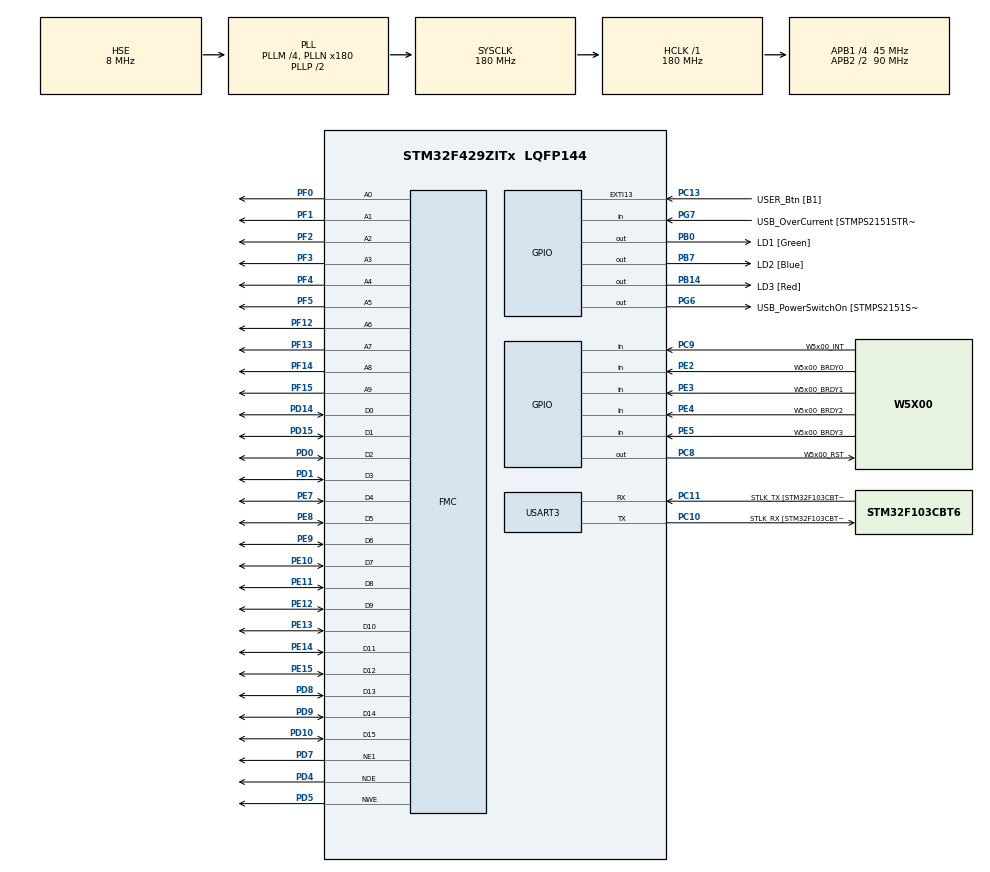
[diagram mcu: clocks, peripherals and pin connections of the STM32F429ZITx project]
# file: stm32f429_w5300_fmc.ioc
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Dma.MEMTOMEM.0.Direction=DMA_MEMORY_TO_MEMORY
Dma.MEMTOMEM.0.FIFOMode=DMA_FIFOMODE_ENABLE
Dma.MEMTOMEM.0.FIFOThreshold=DMA_FIFO_THRESHOLD_FULL
Dma.MEMTOMEM.0.Instance=DMA2_Stream4
Dma.MEMTOMEM.0.MemBurst=DMA_MBURST_SINGLE
Dma.MEMTOMEM.0.MemDataAlignment=DMA_MDATAALIGN_HALFWORD
Dma.MEMTOMEM.0.MemInc=DMA_MINC_ENABLE
Dma.MEMTOMEM.0.Mode=DMA_NORMAL
Dma.MEMTOMEM.0.PeriphBurst=DMA_PBURST_SINGLE
Dma.MEMTOMEM.0.PeriphDataAlignment=DMA_PDATAALIGN_HALFWORD
Dma.MEMTOMEM.0.PeriphInc=DMA_PINC_DISABLE
Dma.MEMTOMEM.0.Priority=DMA_PRIORITY_HIGH
Dma.MEMTOMEM.1.Direction=DMA_MEMORY_TO_MEMORY
Dma.MEMTOMEM.1.FIFOMode=DMA_FIFOMODE_ENABLE
Dma.MEMTOMEM.1.FIFOThreshold=DMA_FIFO_THRESHOLD_FULL
Dma.MEMTOMEM.1.Instance=DMA2_Stream5
Dma.MEMTOMEM.1.MemBurst=DMA_MBURST_SINGLE
Dma.MEMTOMEM.1.MemDataAlignment=DMA_MDATAALIGN_HALFWORD
Dma.MEMTOMEM.1.MemInc=DMA_MINC_DISABLE
Dma.MEMTOMEM.1.Mode=DMA_NORMAL
Dma.MEMTOMEM.1.PeriphBurst=DMA_PBURST_SINGLE
Dma.MEMTOMEM.1.PeriphDataAlignment=DMA_PDATAALIGN_HALFWORD
Dma.MEMTOMEM.1.PeriphInc=DMA_PINC_ENABLE
Dma.MEMTOMEM.1.Priority=DMA_PRIORITY_HIGH
Dma.Request0=MEMTOMEM
Dma.Request1=MEMTOMEM
FMC.AddressSetupTime1=15
FMC.BusTurnAroundDuration1=0x01
FMC.DataSetupTime1=15
FMC.WriteOperation1=FMC_WRITE_OPERATION_ENABLE
Mcu.Family=STM32F4
Mcu.Name=STM32F429ZITx
Mcu.Package=LQFP144
NVIC.DMA2_Stream4_IRQn=true\:0\:0\:false\:false\:true\:true\:true\:true
NVIC.DMA2_Stream5_IRQn=true\:0\:0\:false\:false\:true\:true\:true\:true
NVIC.PriorityGroup=NVIC_PRIORITYGROUP_4
PA13.GPIO_Label=TMS
PA13.Mode=Serial_Wire
PA13.Signal=SYS_JTMS-SWDIO
PA14.GPIO_Label=TCK
PA14.Mode=Serial_Wire
PA14.Signal=SYS_JTCK-SWCLK
PB0.GPIO_Label=LD1 [Green]
PB0.Signal=GPIO_Output
PB14.GPIO_Label=LD3 [Red]
PB14.Signal=GPIO_Output
PB7.GPIO_Label=LD2 [Blue]
PB7.Signal=GPIO_Output
PC10.GPIO_Label=STLK_RX [STM32F103CBT6_PA3]
PC10.Mode=Asynchronous
PC10.Signal=USART3_TX
PC11.GPIO_Label=STLK_TX [STM32F103CBT6_PA2]
PC11.Mode=Asynchronous
PC11.Signal=USART3_RX
PC13.GPIO_Label=USER_Btn [B1]
PC13.Signal=GPXTI13
PC14/OSC32_IN.Mode=LSE-External-Oscillator
PC14/OSC32_IN.Signal=RCC_OSC32_IN
PC15/OSC32_OUT.Mode=LSE-External-Oscillator
PC15/OSC32_OUT.Signal=RCC_OSC32_OUT
PC8.GPIO_Label=W5x00_RST
PC8.PinState=GPIO_PIN_SET
PC8.Signal=GPIO_Output
PC9.GPIO_Label=W5x00_INT
PC9.Signal=GPIO_Input
PD0.Signal=FMC_D2_DA2
PD1.Signal=FMC_D3_DA3
PD10.Signal=FMC_D15_DA15
PD14.Signal=FMC_D0_DA0
PD15.Signal=FMC_D1_DA1
PD4.Signal=FMC_NOE
PD5.Signal=FMC_NWE
PD7.Mode=NorPsramChipSelect1_1
PD7.Signal=FMC_NE1
PD8.Signal=FMC_D13_DA13
PD9.Signal=FMC_D14_DA14
PE10.Signal=FMC_D7_DA7
PE11.Signal=FMC_D8_DA8
PE12.Signal=FMC_D9_DA9
PE13.Signal=FMC_D10_DA10
PE14.Signal=FMC_D11_DA11
PE15.Signal=FMC_D12_DA12
PE2.GPIO_Label=W5x00_BRDY0
PE2.Signal=GPIO_Input
PE3.GPIO_Label=W5x00_BRDY1
PE3.Signal=GPIO_Input
PE4.GPIO_Label=W5x00_BRDY2
PE4.Signal=GPIO_Input
PE5.GPIO_Label=W5x00_BRDY3
PE5.Signal=GPIO_Input
PE7.Signal=FMC_D4_DA4
PE8.Signal=FMC_D5_DA5
PE9.Signal=FMC_D6_DA6
PF0.Signal=FMC_A0
PF1.Signal=FMC_A1
PF12.Signal=FMC_A6
PF13.Signal=FMC_A7
PF14.Signal=FMC_A8
PF15.Signal=FMC_A9
PF2.Signal=FMC_A2
PF3.Signal=FMC_A3
PF4.Signal=FMC_A4
PF5.Signal=FMC_A5
PG6.GPIO_Label=USB_PowerSwitchOn [STMPS2151STR_EN]
PG6.Signal=GPIO_Output
PG7.GPIO_Label=USB_OverCurrent [STMPS2151STR_FAULT]
PG7.Signal=GPIO_Input
PH0/OSC_IN.GPIO_Label=MCO [STM32F103CBT6_PA8]
PH0/OSC_IN.Mode=HSE-External-Clock-Source
PH0/OSC_IN.Signal=RCC_OSC_IN
PH1/OSC_OUT.Mode=HSE-External-Clock-Source
PH1/OSC_OUT.Signal=RCC_OSC_OUT
ProjectManager.HeapSize=0x200
ProjectManager.StackSize=0x400
ProjectManager.TargetToolchain=STM32CubeIDE
RCC.48MHZClocksFreq_Value=51428571.428571425
RCC.AHBFreq_Value=180000000
RCC.APB1CLKDivider=RCC_HCLK_DIV4
RCC.APB1Freq_Value=45000000
RCC.APB1TimFreq_Value=90000000
RCC.APB2CLKDivider=RCC_HCLK_DIV2
RCC.APB2Freq_Value=90000000
RCC.APB2TimFreq_Value=180000000
RCC.CortexFreq_Value=180000000
RCC.HCLKFreq_Value=180000000
RCC.HSE_VALUE=8000000
RCC.HSI_VALUE=16000000
RCC.PLLM=4
RCC.PLLMUL=RCC_PLL_MUL9
RCC.PLLN=180
RCC.PLLQ=7
RCC.PLLSourceVirtual=RCC_PLLSOURCE_HSE
RCC.PRESCALERUSB=RCC_USBCLKSOURCE_PLL_DIV1_5
RCC.SYSCLKFreq_VALUE=180000000
RCC.SYSCLKSource=RCC_SYSCLKSOURCE_PLLCLK
RCC.SYSCLKSourceVirtual=RCC_SYSCLKSOURCE_PLLCLK
RCC.USBFreq_Value=48000000
RCC.VCOOutputFreq_Value=360000000
SH.FMC_A0.0=FMC_A0,10b-a1
SH.FMC_A1.0=FMC_A1,10b-a1
SH.FMC_A2.0=FMC_A2,10b-a1
SH.FMC_A3.0=FMC_A3,10b-a1
SH.FMC_A4.0=FMC_A4,10b-a1
SH.FMC_A5.0=FMC_A5,10b-a1
SH.FMC_A6.0=FMC_A6,10b-a1
SH.FMC_A7.0=FMC_A7,10b-a1
SH.FMC_A8.0=FMC_A8,10b-a1
SH.FMC_A9.0=FMC_A9,10b-a1
SH.FMC_D0_DA0.0=FMC_D0,16b-d1
SH.FMC_D10_DA10.0=FMC_D10,16b-d1
SH.FMC_D11_DA11.0=FMC_D11,16b-d1
SH.FMC_D12_DA12.0=FMC_D12,16b-d1
SH.FMC_D13_DA13.0=FMC_D13,16b-d1
SH.FMC_D14_DA14.0=FMC_D14,16b-d1
SH.FMC_D15_DA15.0=FMC_D15,16b-d1
SH.FMC_D1_DA1.0=FMC_D1,16b-d1
SH.FMC_D2_DA2.0=FMC_D2,16b-d1
SH.FMC_D3_DA3.0=FMC_D3,16b-d1
SH.FMC_D4_DA4.0=FMC_D4,16b-d1
SH.FMC_D5_DA5.0=FMC_D5,16b-d1
SH.FMC_D6_DA6.0=FMC_D6,16b-d1
SH.FMC_D7_DA7.0=FMC_D7,16b-d1
SH.FMC_D8_DA8.0=FMC_D8,16b-d1
SH.FMC_D9_DA9.0=FMC_D9,16b-d1
SH.FMC_NOE.0=FMC_NOE,Sram1
SH.FMC_NWE.0=FMC_NWE,Sram1
USART3.VirtualMode=VM_ASYNC
board=NUCLEO-F429ZI

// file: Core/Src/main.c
/* USER CODE BEGIN Header */
/**
  ******************************************************************************
  * @file           : main.c
  * @brief          : Main program body
  ******************************************************************************
  * @attention
  *
  * Copyright (c) 2023 STMicroelectronics.
  * All rights reserved.
  *
  * This software is licensed under terms that can be found in the LICENSE file
  * in the root directory of this software component.
  * If no LICENSE file comes with this software, it is provided AS-IS.
  *
  ******************************************************************************
  */
/* USER CODE END Header */
#include "main.h"

/* USER CODE BEGIN Includes */
#include <stdio.h>

#include "wizchip_conf.h"

#define LOOPBACK
#ifdef LOOPBACK
#include "loopback.h"
#endif /* LOOPBACK */
/* USER CODE END Includes */

/* USER CODE BEGIN PM */
#ifdef __GNUC__
/* With GCC/RAISONANCE, small printf (option LD Linker->Libraries->Small printf set to 'Yes') calls __io_putchar() */
#define PUTCHAR_PROTOTYPE int __io_putchar(int ch)
#else
#define PUTCHAR_PROTOTYPE int fputc(int ch, FILE *f)
#endif /* __GNUC__ */

#define W5300_BANK_ADDR ((uint32_t)0x60000000)
#define _W5300_DATA(p) *(__IO uint16_t *)(W5300_BANK_ADDR + (p << 1))

#define ETHERNET_BUF_MAX_SIZE (1024 * 2)

#ifdef LOOPBACK
#define SOCKET_LOOPBACK 0
#define PORT_LOOPBACK 5000
#endif /* LOOPBACK */
/* USER CODE END PM */

UART_HandleTypeDef huart3;

DMA_HandleTypeDef hdma_memtomem_dma2_stream4;
DMA_HandleTypeDef hdma_memtomem_dma2_stream5;
SRAM_HandleTypeDef hsram1;

/* USER CODE BEGIN PV */
static wiz_NetInfo g_net_info =
    {
        .mac = {0x00, 0x08, 0xDC, 0x12, 0x34, 0x56}, // MAC address
        .ip = {192, 168, 11, 103},                     // IP address
        .sn = {255, 255, 255, 0},                    // Subnet Mask
        .gw = {192, 168, 11, 1},                     // Gateway
        .dns = {8, 8, 8, 8},                         // DNS server
        .dhcp = NETINFO_STATIC                       // DHCP enable/disable
};

#ifdef LOOPBACK
static uint8_t g_loopback_buf[ETHERNET_BUF_MAX_SIZE] = {
    0,
};
#endif /* LOOPBACK */
/* USER CODE END PV */

void SystemClock_Config(void);
static void MX_GPIO_Init(void);
static void MX_DMA_Init(void);
static void MX_FMC_Init(void);
static void MX_USART3_UART_Init(void);
/* USER CODE BEGIN PFP */
/**
 * @brief  Retargets the C library printf function to the USART.
 * @param  None
 * @retval None
 */
PUTCHAR_PROTOTYPE
{
  /* Place your implementation of fputc here */
  /* e.g. write a character to the USART3 and Loop until the end of transmission */
  HAL_UART_Transmit(&huart3, (uint8_t *)&ch, 1, 0xFF);

  return ch;
}

static void wizchip_select(void)
{
  HAL_GPIO_WritePin(FMC_NE1_GPIO_PORT, FMC_NE1_GPIO_PIN, GPIO_PIN_RESET);
}

static void wizchip_deselect(void)
{
  HAL_GPIO_WritePin(FMC_NE1_GPIO_PORT, FMC_NE1_GPIO_PIN, GPIO_PIN_SET);
}

static void wizchip_reset()
{
  HAL_GPIO_WritePin(W5x00_RST_GPIO_Port, W5x00_RST_Pin, GPIO_PIN_RESET);
  HAL_Delay(100);

  HAL_GPIO_WritePin(W5x00_RST_GPIO_Port, W5x00_RST_Pin, GPIO_PIN_SET);
  HAL_Delay(100);
}
#ifdef DMA

void wizchip_dma_read(uint32_t addr, iodata_t data)
{
	//HAL_SRAM_Write_DMA
	while (HAL_DMA_GetState(&W5300_DMA_TX) != HAL_DMA_STATE_READY);
	HAL_DMA_Start_IT(&W5300_DMA_TX, (uint32_t)&data, (uint32_t)addr, 1);
	while (HAL_DMA_GetState(&W5300_DMA_TX) == HAL_DMA_STATE_RESET);
}

iodata_t wizchip_dma_write(uint32_t addr)
{
	iodata_t ret;

	while (HAL_DMA_GetState(&W5300_DMA_RX) != HAL_DMA_STATE_READY);
	HAL_DMA_Start_IT(&W5300_DMA_RX, (uint32_t)addr, &ret, 1);
	while (HAL_DMA_GetState(&W5300_DMA_RX) == HAL_DMA_STATE_RESET);

	return ret;
}

#else
static iodata_t wizchip_read(uint32_t addr)
{
  return _W5300_DATA(addr);
}

static void wizchip_write(uint32_t addr, iodata_t tx_data)
{
  _W5300_DATA(addr) = tx_data;
}
#endif
void wizchip_initialize(void)
{
  /* Deselect the FLASH : chip select high */
  wizchip_deselect();

  /* CS function register */
  //reg_wizchip_cs_cbfunc(wizchip_select, wizchip_deselect);

  /* BUS function register */
#ifdef DMA
  reg_wizchip_bus_cbfunc(wizchip_dma_read, wizchip_dma_write);
#else
  reg_wizchip_bus_cbfunc(wizchip_read, wizchip_write);
#endif

  /* W5x00 initialize */
#if (_WIZCHIP_ == W5100S)
  uint8_t memsize[2][4] = {{2, 2, 2, 2}, {2, 2, 2, 2}};
#elif (_WIZCHIP_ == W5300)
//  uint8_t memsize[2][8] = {{64, 0, 0, 0, 0, 0, 0, 0}, {64, 0, 0, 0, 0, 0, 0, 0}};
  uint8_t memsize[2][8] = {{8, 8, 8, 0, 8, 8, 8, 8}, {8, 8, 8, 8, 8, 8, 8, 8}};
#elif (_WIZCHIP_ == W5500)
  uint8_t memsize[2][8] = {{2, 2, 2, 2, 2, 2, 2, 2}, {2, 2, 2, 2, 2, 2, 2, 2}};
#endif

  if (ctlwizchip(CW_INIT_WIZCHIP, (void *)memsize) == -1)
  {
    printf(" W5x00 initialized fail\n");

    return;
  }
  for(int i = 0 ; i < _WIZCHIP_SOCK_NUM_; i++)
  {
	  printf("Tx socker%d buf size is: %d, ",i, getSn_TXBUF_SIZE(i));
	  printf("Rx socker%d buf size is: %d \r\n",i, getSn_RXBUF_SIZE(i));
  }
#if (_WIZCHIP_ != W5300)
  uint8_t temp;

  /* Check PHY link status */
  do
  {
    if (ctlwizchip(CW_GET_PHYLINK, (void *)&temp) == -1)
    {
      printf(" Unknown PHY link status\n");

      return;
    }
  } while (temp == PHY_LINK_OFF);
#endif
}

void wizchip_check(void)
{
#if (_WIZCHIP_ == W5100S)
  /* Read version register */
  if (getVER() != 0x51)
  {
    printf(" ACCESS ERR : VERSION != 0x51, read value = 0x%02x\n", getVER());

    while (1)
      ;
  }
#elif (_WIZCHIP_ == W5300)
  // for further use
#elif (_WIZCHIP_ == W5500)
  /* Read version register */
  if (getVERSIONR() != 0x04)
  {
    printf(" ACCESS ERR : VERSION != 0x04, read value = 0x%02x\n", getVERSIONR());

    while (1)
      ;
  }
#endif
}

void network_initialize(wiz_NetInfo net_info)
{
  ctlnetwork(CN_SET_NETINFO, (void *)&net_info);
}

void print_network_information(wiz_NetInfo net_info)
{
  uint8_t tmp_str[8] = {
      0,
  };

  ctlnetwork(CN_GET_NETINFO, (void *)&net_info);
  ctlwizchip(CW_GET_ID, (void *)tmp_str);

  if (net_info.dhcp == NETINFO_DHCP)
  {
    printf("====================================================================================================\n");
    printf(" %s network configuration : DHCP\n\n", (char *)tmp_str);
  }
  else
  {
    printf("====================================================================================================\n");
    printf(" %s network configuration : static\n\n", (char *)tmp_str);
  }

  printf(" MAC         : %02X:%02X:%02X:%02X:%02X:%02X\n", net_info.mac[0], net_info.mac[1], net_info.mac[2], net_info.mac[3], net_info.mac[4], net_info.mac[5]);
  printf(" IP          : %d.%d.%d.%d\n", net_info.ip[0], net_info.ip[1], net_info.ip[2], net_info.ip[3]);
  printf(" Subnet Mask : %d.%d.%d.%d\n", net_info.sn[0], net_info.sn[1], net_info.sn[2], net_info.sn[3]);
  printf(" Gateway     : %d.%d.%d.%d\n", net_info.gw[0], net_info.gw[1], net_info.gw[2], net_info.gw[3]);
  printf(" DNS         : %d.%d.%d.%d\n", net_info.dns[0], net_info.dns[1], net_info.dns[2], net_info.dns[3]);
  printf("====================================================================================================\n\n");
}
/* USER CODE END PFP */

int main(void)
{

  /* MCU Configuration--------------------------------------------------------*/

  /* Reset of all peripherals, Initializes the Flash interface and the Systick. */
  HAL_Init();

  /* Configure the system clock */
  SystemClock_Config();

  /* Initialize all configured peripherals */
  MX_GPIO_Init();
  MX_DMA_Init();
  MX_FMC_Init();
  MX_USART3_UART_Init();
  /* USER CODE BEGIN 2 */
  HAL_Delay(1000 * 3); // wait for 3 seconds

  wizchip_reset();
  wizchip_initialize();
  wizchip_check();

  network_initialize(g_net_info);

  print_network_information(g_net_info);
  /* USER CODE END 2 */

  /* Infinite loop */
  while (1)
  {

    /* USER CODE BEGIN 3 */
#ifdef LOOPBACK
    int retval = 0;

    /* TCP server loopback test */
    if ((retval = loopback_tcps(SOCKET_LOOPBACK, g_loopback_buf, PORT_LOOPBACK)) < 0)
    {
      printf(" Loopback error : %d\n", retval);

      while (1)
        ;
    }
#endif /* LOOPBACK */
  }
  /* USER CODE END 3 */
}

void SystemClock_Config(void)
{
  RCC_OscInitTypeDef RCC_OscInitStruct = {0};
  RCC_ClkInitTypeDef RCC_ClkInitStruct = {0};

  /** Configure the main internal regulator output voltage
  */
  __HAL_RCC_PWR_CLK_ENABLE();
  __HAL_PWR_VOLTAGESCALING_CONFIG(PWR_REGULATOR_VOLTAGE_SCALE1);

  /** Initializes the RCC Oscillators according to the specified parameters
  * in the RCC_OscInitTypeDef structure.
  */
  RCC_OscInitStruct.OscillatorType = RCC_OSCILLATORTYPE_HSE;
  RCC_OscInitStruct.HSEState = RCC_HSE_BYPASS;
  RCC_OscInitStruct.PLL.PLLState = RCC_PLL_ON;
  RCC_OscInitStruct.PLL.PLLSource = RCC_PLLSOURCE_HSE;
  RCC_OscInitStruct.PLL.PLLM = 4;
  RCC_OscInitStruct.PLL.PLLN = 180;
  RCC_OscInitStruct.PLL.PLLP = RCC_PLLP_DIV2;
  RCC_OscInitStruct.PLL.PLLQ = 7;
  if (HAL_RCC_OscConfig(&RCC_OscInitStruct) != HAL_OK)
  {
    Error_Handler();
  }

  /** Activate the Over-Drive mode
  */
  if (HAL_PWREx_EnableOverDrive() != HAL_OK)
  {
    Error_Handler();
  }

  /** Initializes the CPU, AHB and APB buses clocks
  */
  RCC_ClkInitStruct.ClockType = RCC_CLOCKTYPE_HCLK|RCC_CLOCKTYPE_SYSCLK
                              |RCC_CLOCKTYPE_PCLK1|RCC_CLOCKTYPE_PCLK2;
  RCC_ClkInitStruct.SYSCLKSource = RCC_SYSCLKSOURCE_PLLCLK;
  RCC_ClkInitStruct.AHBCLKDivider = RCC_SYSCLK_DIV1;
  RCC_ClkInitStruct.APB1CLKDivider = RCC_HCLK_DIV4;
  RCC_ClkInitStruct.APB2CLKDivider = RCC_HCLK_DIV2;

  if (HAL_RCC_ClockConfig(&RCC_ClkInitStruct, FLASH_LATENCY_5) != HAL_OK)
  {
    Error_Handler();
  }
}

static void MX_USART3_UART_Init(void)
{

  huart3.Instance = USART3;
  huart3.Init.BaudRate = 115200;
  huart3.Init.WordLength = UART_WORDLENGTH_8B;
  huart3.Init.StopBits = UART_STOPBITS_1;
  huart3.Init.Parity = UART_PARITY_NONE;
  huart3.Init.Mode = UART_MODE_TX_RX;
  huart3.Init.HwFlowCtl = UART_HWCONTROL_NONE;
  huart3.Init.OverSampling = UART_OVERSAMPLING_16;
  if (HAL_UART_Init(&huart3) != HAL_OK)
  {
    Error_Handler();
  }

}

static void MX_DMA_Init(void)
{

  /* DMA controller clock enable */
  __HAL_RCC_DMA2_CLK_ENABLE();

  /* Configure DMA request hdma_memtomem_dma2_stream4 on DMA2_Stream4 */
  hdma_memtomem_dma2_stream4.Instance = DMA2_Stream4;
  hdma_memtomem_dma2_stream4.Init.Channel = DMA_CHANNEL_0;
  hdma_memtomem_dma2_stream4.Init.Direction = DMA_MEMORY_TO_MEMORY;
  hdma_memtomem_dma2_stream4.Init.PeriphInc = DMA_PINC_DISABLE;
  hdma_memtomem_dma2_stream4.Init.MemInc = DMA_MINC_ENABLE;
  hdma_memtomem_dma2_stream4.Init.PeriphDataAlignment = DMA_PDATAALIGN_HALFWORD;
  hdma_memtomem_dma2_stream4.Init.MemDataAlignment = DMA_MDATAALIGN_HALFWORD;
  hdma_memtomem_dma2_stream4.Init.Mode = DMA_NORMAL;
  hdma_memtomem_dma2_stream4.Init.Priority = DMA_PRIORITY_HIGH;
  hdma_memtomem_dma2_stream4.Init.FIFOMode = DMA_FIFOMODE_ENABLE;
  hdma_memtomem_dma2_stream4.Init.FIFOThreshold = DMA_FIFO_THRESHOLD_FULL;
  hdma_memtomem_dma2_stream4.Init.MemBurst = DMA_MBURST_SINGLE;
  hdma_memtomem_dma2_stream4.Init.PeriphBurst = DMA_PBURST_SINGLE;
  if (HAL_DMA_Init(&hdma_memtomem_dma2_stream4) != HAL_OK)
  {
    Error_Handler( );
  }

  /* Configure DMA request hdma_memtomem_dma2_stream5 on DMA2_Stream5 */
  hdma_memtomem_dma2_stream5.Instance = DMA2_Stream5;
  hdma_memtomem_dma2_stream5.Init.Channel = DMA_CHANNEL_0;
  hdma_memtomem_dma2_stream5.Init.Direction = DMA_MEMORY_TO_MEMORY;
  hdma_memtomem_dma2_stream5.Init.PeriphInc = DMA_PINC_ENABLE;
  hdma_memtomem_dma2_stream5.Init.MemInc = DMA_MINC_DISABLE;
  hdma_memtomem_dma2_stream5.Init.PeriphDataAlignment = DMA_PDATAALIGN_HALFWORD;
  hdma_memtomem_dma2_stream5.Init.MemDataAlignment = DMA_MDATAALIGN_HALFWORD;
  hdma_memtomem_dma2_stream5.Init.Mode = DMA_NORMAL;
  hdma_memtomem_dma2_stream5.Init.Priority = DMA_PRIORITY_HIGH;
  hdma_memtomem_dma2_stream5.Init.FIFOMode = DMA_FIFOMODE_ENABLE;
  hdma_memtomem_dma2_stream5.Init.FIFOThreshold = DMA_FIFO_THRESHOLD_FULL;
  hdma_memtomem_dma2_stream5.Init.MemBurst = DMA_MBURST_SINGLE;
  hdma_memtomem_dma2_stream5.Init.PeriphBurst = DMA_PBURST_SINGLE;
  if (HAL_DMA_Init(&hdma_memtomem_dma2_stream5) != HAL_OK)
  {
    Error_Handler( );
  }

  /* DMA interrupt init */
  /* DMA2_Stream4_IRQn interrupt configuration */
  HAL_NVIC_SetPriority(DMA2_Stream4_IRQn, 0, 0);
  HAL_NVIC_EnableIRQ(DMA2_Stream4_IRQn);
  /* DMA2_Stream5_IRQn interrupt configuration */
  HAL_NVIC_SetPriority(DMA2_Stream5_IRQn, 0, 0);
  HAL_NVIC_EnableIRQ(DMA2_Stream5_IRQn);

}

/* FMC initialization function */
static void MX_FMC_Init(void)
{

  FMC_NORSRAM_TimingTypeDef Timing = {0};

  /** Perform the SRAM1 memory initialization sequence
  */
  hsram1.Instance = FMC_NORSRAM_DEVICE;
  hsram1.Extended = FMC_NORSRAM_EXTENDED_DEVICE;
  /* hsram1.Init */
  hsram1.Init.NSBank = FMC_NORSRAM_BANK1;
  hsram1.Init.DataAddressMux = FMC_DATA_ADDRESS_MUX_DISABLE;
  hsram1.Init.MemoryType = FMC_MEMORY_TYPE_SRAM;
  hsram1.Init.MemoryDataWidth = FMC_NORSRAM_MEM_BUS_WIDTH_16;
  hsram1.Init.BurstAccessMode = FMC_BURST_ACCESS_MODE_DISABLE;
  hsram1.Init.WaitSignalPolarity = FMC_WAIT_SIGNAL_POLARITY_LOW;
  hsram1.Init.WrapMode = FMC_WRAP_MODE_DISABLE;
  hsram1.Init.WaitSignalActive = FMC_WAIT_TIMING_BEFORE_WS;
  hsram1.Init.WriteOperation = FMC_WRITE_OPERATION_ENABLE;
  hsram1.Init.WaitSignal = FMC_WAIT_SIGNAL_DISABLE;
  hsram1.Init.ExtendedMode = FMC_EXTENDED_MODE_DISABLE;
  hsram1.Init.AsynchronousWait = FMC_ASYNCHRONOUS_WAIT_DISABLE;
  hsram1.Init.WriteBurst = FMC_WRITE_BURST_DISABLE;
  hsram1.Init.ContinuousClock = FMC_CONTINUOUS_CLOCK_SYNC_ONLY;
  hsram1.Init.PageSize = FMC_PAGE_SIZE_NONE;
  /* Timing */
  Timing.AddressSetupTime = 15;
  Timing.AddressHoldTime = 15;
  Timing.DataSetupTime = 255;
  Timing.BusTurnAroundDuration = 15;
  Timing.CLKDivision = 16;
  Timing.DataLatency = 17;
  Timing.AccessMode = FMC_ACCESS_MODE_A;
  /* ExtTiming */

  if (HAL_SRAM_Init(&hsram1, &Timing, NULL) != HAL_OK)
  {
    Error_Handler( );
  }

}

static void MX_GPIO_Init(void)
{
  GPIO_InitTypeDef GPIO_InitStruct = {0};

  /* GPIO Ports Clock Enable */
  __HAL_RCC_GPIOE_CLK_ENABLE();
  __HAL_RCC_GPIOC_CLK_ENABLE();
  __HAL_RCC_GPIOF_CLK_ENABLE();
  __HAL_RCC_GPIOH_CLK_ENABLE();
  __HAL_RCC_GPIOB_CLK_ENABLE();
  __HAL_RCC_GPIOD_CLK_ENABLE();
  __HAL_RCC_GPIOG_CLK_ENABLE();
  __HAL_RCC_GPIOA_CLK_ENABLE();

  /*Configure GPIO pin Output Level */
  HAL_GPIO_WritePin(GPIOB, LD1_Pin|LD3_Pin|LD2_Pin, GPIO_PIN_RESET);

  /*Configure GPIO pin Output Level */
  HAL_GPIO_WritePin(USB_PowerSwitchOn_GPIO_Port, USB_PowerSwitchOn_Pin, GPIO_PIN_RESET);

  /*Configure GPIO pin Output Level */
  HAL_GPIO_WritePin(W5x00_RST_GPIO_Port, W5x00_RST_Pin, GPIO_PIN_SET);

  /*Configure GPIO pins : W5x00_BRDY0_Pin W5x00_BRDY1_Pin W5x00_BRDY2_Pin W5x00_BRDY3_Pin */
  GPIO_InitStruct.Pin = W5x00_BRDY0_Pin|W5x00_BRDY1_Pin|W5x00_BRDY2_Pin|W5x00_BRDY3_Pin;
  GPIO_InitStruct.Mode = GPIO_MODE_INPUT;
  GPIO_InitStruct.Pull = GPIO_NOPULL;
  HAL_GPIO_Init(GPIOE, &GPIO_InitStruct);

  /*Configure GPIO pin : USER_Btn_Pin */
  GPIO_InitStruct.Pin = USER_Btn_Pin;
  GPIO_InitStruct.Mode = GPIO_MODE_IT_RISING;
  GPIO_InitStruct.Pull = GPIO_NOPULL;
  HAL_GPIO_Init(USER_Btn_GPIO_Port, &GPIO_InitStruct);

  /*Configure GPIO pins : LD1_Pin LD3_Pin LD2_Pin */
  GPIO_InitStruct.Pin = LD1_Pin|LD3_Pin|LD2_Pin;
  GPIO_InitStruct.Mode = GPIO_MODE_OUTPUT_PP;
  GPIO_InitStruct.Pull = GPIO_NOPULL;
  GPIO_InitStruct.Speed = GPIO_SPEED_FREQ_LOW;
  HAL_GPIO_Init(GPIOB, &GPIO_InitStruct);

  /*Configure GPIO pin : USB_PowerSwitchOn_Pin */
  GPIO_InitStruct.Pin = USB_PowerSwitchOn_Pin;
  GPIO_InitStruct.Mode = GPIO_MODE_OUTPUT_PP;
  GPIO_InitStruct.Pull = GPIO_NOPULL;
  GPIO_InitStruct.Speed = GPIO_SPEED_FREQ_LOW;
  HAL_GPIO_Init(USB_PowerSwitchOn_GPIO_Port, &GPIO_InitStruct);

  /*Configure GPIO pin : USB_OverCurrent_Pin */
  GPIO_InitStruct.Pin = USB_OverCurrent_Pin;
  GPIO_InitStruct.Mode = GPIO_MODE_INPUT;
  GPIO_InitStruct.Pull = GPIO_NOPULL;
  HAL_GPIO_Init(USB_OverCurrent_GPIO_Port, &GPIO_InitStruct);

  /*Configure GPIO pin : W5x00_RST_Pin */
  GPIO_InitStruct.Pin = W5x00_RST_Pin;
  GPIO_InitStruct.Mode = GPIO_MODE_OUTPUT_PP;
  GPIO_InitStruct.Pull = GPIO_NOPULL;
  GPIO_InitStruct.Speed = GPIO_SPEED_FREQ_LOW;
  HAL_GPIO_Init(W5x00_RST_GPIO_Port, &GPIO_InitStruct);

  /*Configure GPIO pin : W5x00_INT_Pin */
  GPIO_InitStruct.Pin = W5x00_INT_Pin;
  GPIO_InitStruct.Mode = GPIO_MODE_INPUT;
  GPIO_InitStruct.Pull = GPIO_NOPULL;
  HAL_GPIO_Init(W5x00_INT_GPIO_Port, &GPIO_InitStruct);

}

void Error_Handler(void)
{
  __disable_irq();
  while (1)
  {
  }
}
